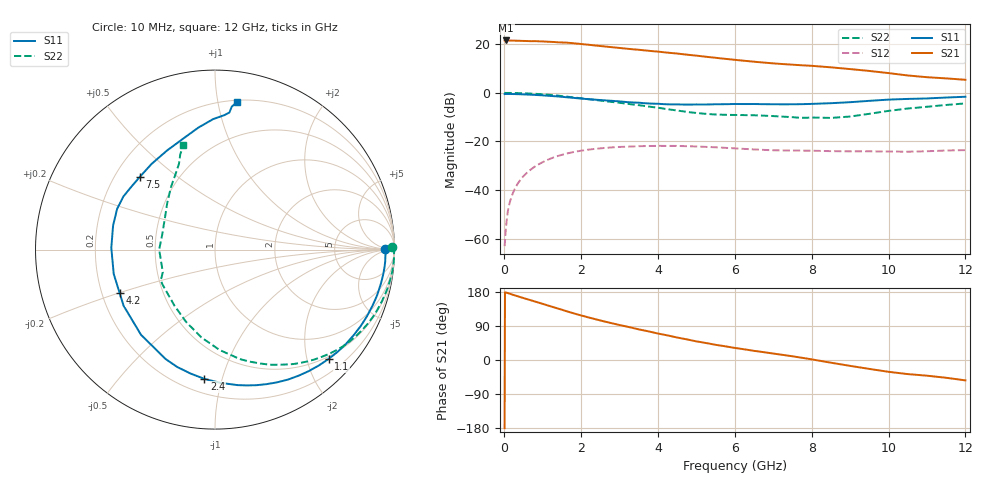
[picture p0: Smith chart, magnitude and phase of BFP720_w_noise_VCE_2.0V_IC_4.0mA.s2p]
! Infineon Technologies  Discrete & RF Semiconductors
! BFP720
! VCE =  2.0 V,  IC =  4.0 mA
! Common Emitter S-Parameters:  Aug 2012
# GHz  S  MA  R  50
!  f  S11  S21  S12  S22
! GHz  MAG  ANG  MAG  ANG  MAG  ANG  MAG  ANG
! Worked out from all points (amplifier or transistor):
!   105 points, 10 MHz to 12 GHz, reference 50 ohm
!   highest |S21| = 21.6 dB at 50 MHz (marker M1)
!   |S21| within 3 dB of that: start of sweep to 2.946 GHz
!   unconditionally stable (mu >= 1): start of sweep to 10.6 MHz; 6.848 GHz to 11.66 GHz
!   at 300 MHz: K = 0.03, MSG = 30.1 dB, |S12| = -38.8 dB
!   at 3.6 GHz: K = 0.43, MSG = 19.7 dB, |S12| = -21.9 dB
!   at 12 GHz: K = 0.87, MSG = 14.5 dB, |S12| = -23.6 dB
!   lowest NFmin = 0.37 dB at 450 MHz
!   S11 on the Smith chart (normalised r, x): 10 MHz: 38, +1; 1.1 GHz: 0.45, -2.41; 2.4 GHz: 0.29, -0.88; 4.2 GHz: 0.27, -0.20; 7.5 GHz: 0.30, +0.37; 12 GHz: 0.21, +1.14
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0.01  0.9484 0.1  11.94 -179.9  0.0007 4.6  0.9879 0.7
0.02  0.9526 -0.7  11.84 178.8  0.0009 99.3  0.9983 -0.5
0.05  0.95 -2.0  12 177.9  0.0018 94.5  0.9977 -1.4
0.15  0.9496 -5.9  11.98 174.7  0.0058 86.2  0.9976 -4.2
0.35  0.9406 -13.6  11.83 168.2  0.0135 81.2  0.9902 -9.9
0.8  0.9079 -31.7  11.62 154.3  0.0305 69.9  0.9576 -22.8
1.1  0.8784 -43.9  11.34 145.0  0.041 61.9  0.9217 -31.5
1.6  0.8159 -65.1  10.85 129.4  0.0558 49.1  0.8428 -45.2
2.1  0.7523 -84.2  9.949 114.9  0.0662 37.3  0.756 -57.8
2.4  0.7227 -94.7  9.398 106.9  0.071 31.1  0.7093 -64.7
2.8  0.6868 -107.9  8.726 97.0  0.0755 23.8  0.6517 -73.1
3.2  0.6463 -120.7  8.097 87.9  0.0781 17.2  0.5966 -81.0
3.5  0.6287 -131.0  7.718 80.8  0.08 12.5  0.5591 -87.5
4.1  0.5895 -152.0  6.931 67.9  0.0811 4.1  0.4812 -101.1
4.2  0.5837 -155.5  6.798 65.9  0.081 2.8  0.468 -103.5
5  0.5778 179.0  5.846 49.1  0.079 -7.0  0.3859 -125.7
6.1  0.5897 155.9  4.704 30.4  0.0714 -15.7  0.3502 -147.2
7.5  0.5828 136.0  3.807 9.8  0.0651 -18.4  0.3164 -156.8
8.5  0.6132 115.9  3.357 -7.1  0.0632 -20.9  0.3053 165.0
9.5  0.6858 97.8  2.828 -23.5  0.0627 -21.7  0.3709 135.9
10.5  0.7511 86.0  2.283 -37.2  0.0616 -22.5  0.4763 117.4
12  0.8326 81.4  1.861 -53.8  0.0664 -24.7  0.6077 106.9
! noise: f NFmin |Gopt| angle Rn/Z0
0.45  0.37  0.56  4  0.21
1.8  0.49  0.52  27  0.15
2.4  0.52  0.39  66  0.2
5.5  0.72  0.26  73  0.11
10  1.02  0.41  -96  0.21
